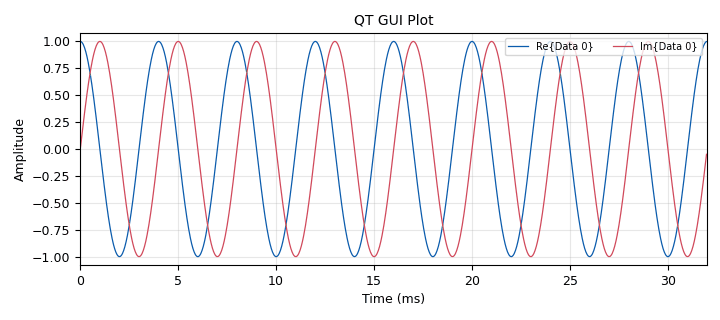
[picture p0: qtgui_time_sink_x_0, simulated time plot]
<?xml version='1.0' encoding='utf-8'?>
<flow_graph>
<block>
<key>blocks_tag_debug</key>
<param><key>id</key><value>blocks_tag_debug_0</value></param>
<param><key>type</key><value>complex</value></param>
</block>
<block>
<key>variable</key>
<param><key>id</key><value>samp_rate</value></param>
<param><key>value</key><value>32000</value></param>
</block>
<block>
<key>analog_sig_source_x</key>
<param><key>id</key><value>analog_sig_source_x_0</value></param>
<param><key>type</key><value>complex</value></param>
<param><key>samp_rate</key><value>1.0</value></param>
<param><key>waveform</key><value>analog.GR_COS_WAVE</value></param>
<param><key>freq</key><value>1.0/128</value></param>
<param><key>amp</key><value>1</value></param>
<param><key>offset</key><value>0</value></param>
</block>
<block>
<key>blocks_stream_to_tagged_stream</key>
<param><key>id</key><value>blocks_stream_to_tagged_stream_0</value></param>
<param><key>type</key><value>complex</value></param>
<param><key>packet_len</key><value>128</value></param>
<param><key>len_tag_key</key><value>"packet_len"</value></param>
</block>
<block>
<key>blocks_throttle</key>
<param><key>id</key><value>blocks_throttle_0</value></param>
<param><key>type</key><value>complex</value></param>
<param><key>samples_per_second</key><value>samp_rate</value></param>
</block>
<block>
<key>options</key>
<param><key>id</key><value>demo_tagged_stream_blocks</value></param>
<param><key>generate_options</key><value>qt_gui</value></param>
<param><key>category</key><value>Custom</value></param>
</block>
<block>
<key>qtgui_time_sink_x</key>
<param><key>id</key><value>qtgui_time_sink_x_0</value></param>
<param><key>type</key><value>complex</value></param>
<param><key>name</key><value>QT GUI Plot</value></param>
<param><key>size</key><value>1024</value></param>
<param><key>srate</key><value>samp_rate</value></param>
<param><key>tr_mode</key><value>qtgui.TRIG_MODE_TAG</value></param>
<param><key>tr_tag</key><value>"packet_len"</value></param>
</block>
<connection><source_block_id>blocks_throttle_0</source_block_id><sink_block_id>blocks_stream_to_tagged_stream_0</sink_block_id><source_key>0</source_key><sink_key>0</sink_key></connection>
<connection><source_block_id>blocks_stream_to_tagged_stream_0</source_block_id><sink_block_id>blocks_tag_debug_0</sink_block_id><source_key>0</source_key><sink_key>0</sink_key></connection>
<connection><source_block_id>blocks_stream_to_tagged_stream_0</source_block_id><sink_block_id>qtgui_time_sink_x_0</sink_block_id><source_key>0</source_key><sink_key>0</sink_key></connection>
<connection><source_block_id>analog_sig_source_x_0</source_block_id><sink_block_id>blocks_throttle_0</sink_block_id><source_key>0</source_key><sink_key>0</sink_key></connection>
</flow_graph>
